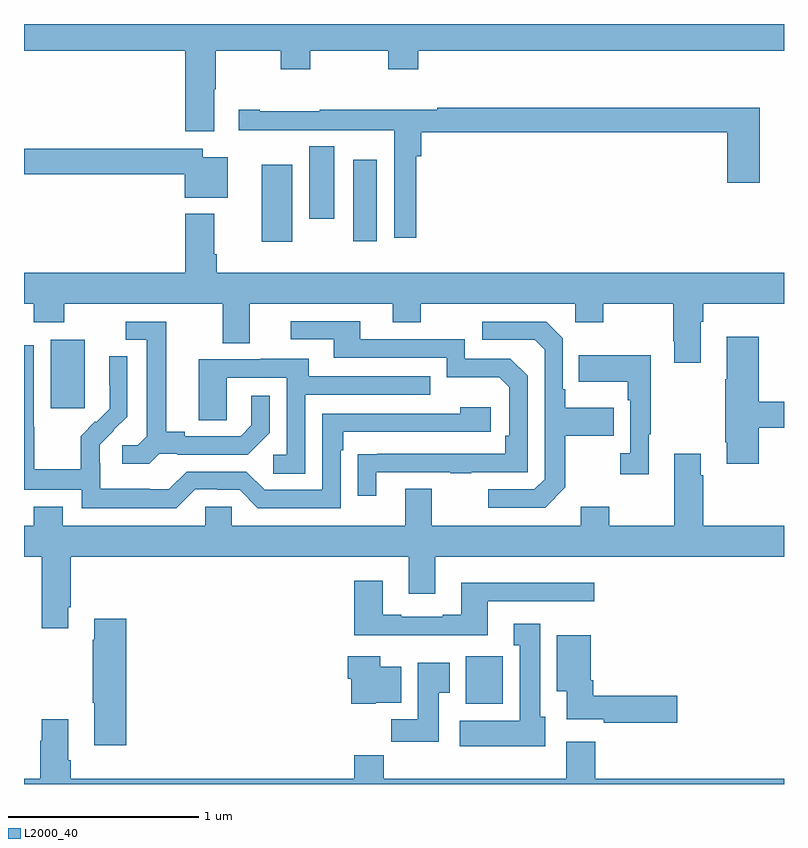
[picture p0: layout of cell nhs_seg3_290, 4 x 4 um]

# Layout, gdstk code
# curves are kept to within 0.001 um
import gdstk
lib = gdstk.Library(unit=1e-6, precision=1e-09)
def R(c, l, rs):  # rectangles x0, y0, x1, y1
    for r in rs: c.add(gdstk.rectangle(r[:2], r[2:], *l))
def P(c, l, *ps):  # polygons
    for p in ps: c.add(gdstk.Polygon(p, *l))
L2000_40 = (2000, 40)

nhs_seg3_290 = lib.new_cell('nhs_seg3_290')
R(nhs_seg3_290, L2000_40, [(127.325,686.822,127.521,687.073), (125.141,688.377,125.32,688.738), (126.251,689.253,126.412,689.659), (126.734,689.256,126.856,689.686), (126.5,689.376,126.634,689.756)])
P(nhs_seg3_290, L2000_40, [(126.001,690.056),(126.009,690.056),(126.009,690.26),(126.352,690.26),(126.352,690.161),(126.507,690.161),(126.507,690.26),(126.916,690.26),(126.916,690.161),(127.076,690.161),(127.076,690.26),(129,690.26),(129,690.4),(125,690.4),(125,690.26),(125.849,690.26),(125.849,689.835),(126.001,689.835)],
  [(127.064,689.705),(127.091,689.705),(127.091,689.83),(128.702,689.83),(128.702,689.565),(128.872,689.565),(128.872,689.959),(127.174,689.959),(127.174,689.948),(126.972,689.948),(126.972,689.95),(126.557,689.95),(126.557,689.94),(126.241,689.94),(126.241,689.95),(126.129,689.95),(126.129,689.84),(126.404,689.84),(126.404,689.841),(126.738,689.841),(126.738,689.84),(126.948,689.84),(126.948,689.274),(127.064,689.274)],
  [(126.073,689.698),(125.94,689.698),(125.94,689.744),(125,689.744),(125,689.608),(125.846,689.608),(125.846,689.486),(126.073,689.486)],
  [(128.563,688.832),(128.576,688.832),(128.576,688.928),(129,688.928),(129,689.092),(126.014,689.092),(126.014,689.188),(126.001,689.188),(126.001,689.401),(125.849,689.401),(125.849,689.092),(125,689.092),(125,688.928),(125.051,688.928),(125.051,688.829),(125.211,688.829),(125.211,688.928),(126.047,688.928),(126.047,688.72),(126.187,688.72),(126.187,688.928),(126.941,688.928),(126.941,688.829),(127.089,688.829),(127.089,688.928),(127.902,688.928),(127.902,688.829),(128.049,688.829),(128.049,688.928),(128.416,688.928),(128.416,688.729),(128.423,688.729),(128.423,688.617),(128.563,688.617)],
  [(126.853,688.041),(127.243,688.041),(127.243,688.036),(127.355,688.036),(127.355,688.041),(127.65,688.041),(127.65,688.548),(127.56,688.638),(127.32,688.638),(127.32,688.74),(126.769,688.74),(126.769,688.836),(126.405,688.836),(126.405,688.74),(126.629,688.74),(126.629,688.644),(127.224,688.644),(127.224,688.541),(127.501,688.541),(127.554,688.488),(127.554,688.234),(127.534,688.234),(127.534,688.137),(126.757,688.136),(126.757,687.918),(126.853,687.918)],
  [(125.712,688.137),(125.806,688.137),(125.806,688.134),(126.178,688.134),(126.294,688.25),(126.294,688.444),(126.197,688.444),(126.197,688.287),(126.14,688.23),(125.845,688.23),(125.845,688.253),(125.749,688.253),(125.749,688.833),(125.535,688.833),(125.535,688.737),(125.645,688.737),(125.645,688.229),(125.598,688.182),(125.517,688.182),(125.517,688.085),(125.66,688.085)],
  [(127.849,687.961),(127.849,688.234),(128.105,688.234),(128.105,688.381),(127.849,688.381),(127.849,688.477),(127.836,688.477),(127.836,688.746),(127.749,688.833),(127.413,688.833),(127.413,688.737),(127.689,688.737),(127.74,688.686),(127.74,688.005),(127.686,687.951),(127.443,687.951),(127.443,687.855),(127.743,687.855)],
  [(128.867,688.276),(129,688.276),(129,688.412),(128.867,688.412),(128.867,688.753),(128.699,688.753),(128.699,688.529),(128.692,688.529),(128.692,688.198),(128.699,688.198),(128.699,688.086),(128.867,688.086)],
  [(125.901,687.951),(126.017,687.951),(126.017,687.948),(126.135,687.948),(126.231,687.852),(126.666,687.852),(126.666,688.157),(126.679,688.157),(126.679,688.254),(127.456,688.254),(127.456,688.384),(127.295,688.384),(127.295,688.35),(126.57,688.35),(126.57,687.948),(126.267,687.948),(126.171,688.044),(125.856,688.044),(125.763,687.951),(125.663,687.951),(125.663,687.955),(125.4,687.955),(125.4,688.089),(125.398,688.089),(125.398,688.186),(125.544,688.334),(125.544,688.652),(125.448,688.652),(125.448,688.498),(125.45,688.498),(125.45,688.376),(125.379,688.305),(125.376,688.308),(125.299,688.231),(125.299,688.057),(125.055,688.057),(125.055,688.28),(125.052,688.28),(125.052,688.71),(125,688.71),(125,687.948),(125.304,687.948),(125.304,687.851),(125.801,687.851)],
  [(128.287,688.241),(128.299,688.241),(128.299,688.657),(127.921,688.657),(127.921,688.517),(128.178,688.517),(128.178,688.421),(128.19,688.421),(128.19,688.142),(128.139,688.142),(128.139,688.029),(128.287,688.029)],
  [(126.48,688.449),(127.139,688.449),(127.139,688.545),(126.499,688.545),(126.499,688.639),(126.245,688.639),(126.245,688.635),(125.921,688.635),(125.921,688.315),(126.066,688.315),(126.066,688.539),(126.384,688.539),(126.384,688.134),(126.312,688.134),(126.312,688.033),(126.48,688.033)],
  [(125.233,687.331),(125.246,687.331),(125.246,687.596),(127.025,687.596),(127.025,687.402),(127.165,687.402),(127.165,687.596),(129,687.596),(129,687.76),(128.576,687.76),(128.576,688.025),(128.563,688.025),(128.563,688.138),(128.423,688.138),(128.423,687.76),(128.079,687.76),(128.079,687.859),(127.931,687.859),(127.931,687.76),(127.147,687.76),(127.147,687.955),(127.007,687.955),(127.007,687.76),(126.093,687.76),(126.093,687.858),(125.955,687.858),(125.955,687.76),(125.203,687.76),(125.203,687.859),(125.051,687.859),(125.051,687.76),(125,687.76),(125,687.596),(125.093,687.596),(125.093,687.219),(125.233,687.219)],
  [(127.441,687.363),(128.002,687.363),(128.002,687.46),(127.301,687.46),(127.301,687.292),(127.205,687.292),(127.205,687.279),(126.985,687.279),(126.985,687.292),(126.889,687.292),(126.889,687.469),(126.737,687.469),(126.737,687.182),(127.441,687.182)],
  [(125.537,687.271),(125.369,687.271),(125.369,687.158),(125.362,687.158),(125.362,686.827),(125.369,686.827),(125.369,686.604),(125.537,686.604)],
  [(127.744,686.754),(127.717,686.754),(127.717,687.244),(127.577,687.244),(127.577,687.131),(127.61,687.131),(127.61,686.734),(127.293,686.734),(127.293,686.6),(127.744,686.6)],
  [(128.437,686.864),(127.997,686.864),(127.997,686.947),(127.984,686.947),(127.984,687.184),(127.805,687.184),(127.805,686.888),(127.856,686.888),(127.856,686.741),(128.052,686.741),(128.052,686.722),(128.437,686.722)],
  [(126.852,686.828),(126.985,686.828),(126.985,687.016),(126.874,687.016),(126.874,687.073),(126.704,687.073),(126.704,686.955),(126.722,686.955),(126.722,686.822),(126.852,686.822)],
  [(127.183,686.881),(127.24,686.881),(127.24,687.037),(127.073,687.037),(127.073,686.74),(126.934,686.74),(126.934,686.622),(127.183,686.622)],
  [(129,686.428),(128.006,686.428),(128.006,686.623),(127.853,686.623),(127.853,686.428),(126.893,686.428),(126.893,686.552),(126.737,686.552),(126.737,686.428),(125.246,686.428),(125.246,686.524),(125.233,686.524),(125.233,686.74),(125.093,686.74),(125.093,686.627),(125.086,686.627),(125.086,686.428),(125,686.428),(125,686.4),(129,686.4)])

lib.write_gds('nhs_seg3_290.gds')
